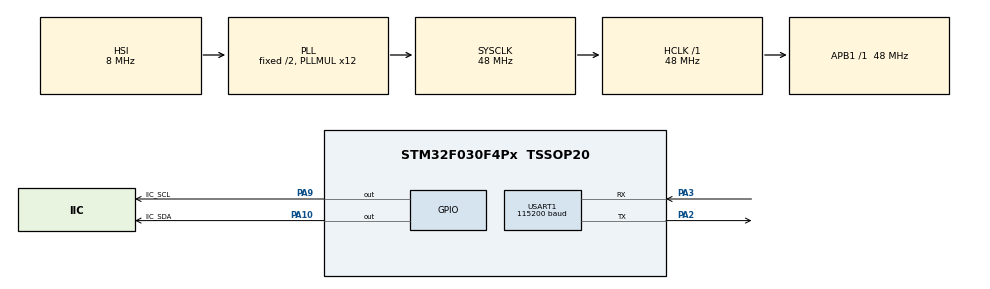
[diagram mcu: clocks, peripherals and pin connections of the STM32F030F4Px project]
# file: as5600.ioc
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Dma.Request0=USART1_RX
Dma.USART1_RX.0.Direction=DMA_PERIPH_TO_MEMORY
Dma.USART1_RX.0.Instance=DMA1_Channel3
Dma.USART1_RX.0.MemDataAlignment=DMA_MDATAALIGN_BYTE
Dma.USART1_RX.0.MemInc=DMA_MINC_ENABLE
Dma.USART1_RX.0.Mode=DMA_CIRCULAR
Dma.USART1_RX.0.PeriphDataAlignment=DMA_PDATAALIGN_BYTE
Dma.USART1_RX.0.PeriphInc=DMA_PINC_DISABLE
Dma.USART1_RX.0.Priority=DMA_PRIORITY_LOW
Mcu.Family=STM32F0
Mcu.Name=STM32F030F4Px
Mcu.Package=TSSOP20
NVIC.DMA1_Channel2_3_IRQn=true\:0\:0\:false\:false\:true\:false
NVIC.USART1_IRQn=true\:0\:0\:false\:false\:true\:true
PA10.GPIO_Label=IIC_SDA
PA10.Signal=GPIO_Output
PA13.Mode=Serial_Wire
PA13.Signal=SYS_SWDIO
PA14.Mode=Serial_Wire
PA14.Signal=SYS_SWCLK
PA2.Mode=Asynchronous
PA2.Signal=USART1_TX
PA3.Mode=Asynchronous
PA3.Signal=USART1_RX
PA9.GPIO_Label=IIC_SCL
PA9.Signal=GPIO_Output
PF0-OSC_IN.Mode=HSE-External-Oscillator
PF0-OSC_IN.Signal=RCC_OSC_IN
PF1-OSC_OUT.Mode=HSE-External-Oscillator
PF1-OSC_OUT.Signal=RCC_OSC_OUT
ProjectManager.HeapSize=0x200
ProjectManager.StackSize=0x400
ProjectManager.TargetToolchain=MDK-ARM V5
RCC.AHBFreq_Value=48000000
RCC.APB1Freq_Value=48000000
RCC.APB1TimFreq_Value=48000000
RCC.HCLKFreq_Value=48000000
RCC.PLLMUL=RCC_PLL_MUL12
RCC.SYSCLKFreq_VALUE=48000000
RCC.SYSCLKSource=RCC_SYSCLKSOURCE_PLLCLK
USART1.BaudRate=115200
USART1.VirtualMode-Asynchronous=VM_ASYNC
board=custom

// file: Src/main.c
/* USER CODE BEGIN Header */
/**
  ******************************************************************************
  * @file           : main.c
  * @brief          : Main program body
  ******************************************************************************
  ** This notice applies to any and all portions of this file
  * that are not between comment pairs USER CODE BEGIN and
  * USER CODE END. Other portions of this file, whether
  * inserted by the user or by software development tools
  * are owned by their respective copyright owners.
  *
  * COPYRIGHT(c) 2018 STMicroelectronics
  *
  * Redistribution and use in source and binary forms, with or without modification,
  * are permitted provided that the following conditions are met:
  *   1. Redistributions of source code must retain the above copyright notice,
  *      this list of conditions and the following disclaimer.
  *   2. Redistributions in binary form must reproduce the above copyright notice,
  *      this list of conditions and the following disclaimer in the documentation
  *      and/or other materials provided with the distribution.
  *   3. Neither the name of STMicroelectronics nor the names of its contributors
  *      may be used to endorse or promote products derived from this software
  *      without specific prior written permission.
  *
  * THIS SOFTWARE IS PROVIDED BY THE COPYRIGHT HOLDERS AND CONTRIBUTORS "AS IS"
  * AND ANY EXPRESS OR IMPLIED WARRANTIES, INCLUDING, BUT NOT LIMITED TO, THE
  * IMPLIED WARRANTIES OF MERCHANTABILITY AND FITNESS FOR A PARTICULAR PURPOSE ARE
  * DISCLAIMED. IN NO EVENT SHALL THE COPYRIGHT HOLDER OR CONTRIBUTORS BE LIABLE
  * FOR ANY DIRECT, INDIRECT, INCIDENTAL, SPECIAL, EXEMPLARY, OR CONSEQUENTIAL
  * DAMAGES (INCLUDING, BUT NOT LIMITED TO, PROCUREMENT OF SUBSTITUTE GOODS OR
  * SERVICES; LOSS OF USE, DATA, OR PROFITS; OR BUSINESS INTERRUPTION) HOWEVER
  * CAUSED AND ON ANY THEORY OF LIABILITY, WHETHER IN CONTRACT, STRICT LIABILITY,
  * OR TORT (INCLUDING NEGLIGENCE OR OTHERWISE) ARISING IN ANY WAY OUT OF THE USE
  * OF THIS SOFTWARE, EVEN IF ADVISED OF THE POSSIBILITY OF SUCH DAMAGE.
  *
  ******************************************************************************
  */
/* USER CODE END Header */

#include "main.h"

/* USER CODE BEGIN Includes */
#include "as5600.h"
/* USER CODE END Includes */

UART_HandleTypeDef huart1;
DMA_HandleTypeDef hdma_usart1_rx;

void SystemClock_Config(void);
static void MX_GPIO_Init(void);
static void MX_DMA_Init(void);
static void MX_USART1_UART_Init(void);
/* USER CODE BEGIN PFP */
void Uart_RxOvertimeEnable(void);
uint8_t aRxBuffer[2]={0};

uint8_t noMagnetStr[] = "Error: magnet not detected";
/* USER CODE END PFP */

/* USER CODE BEGIN 0 */
#ifdef __GNUC__
  /* With GCC/RAISONANCE, small printf (option LD Linker->Libraries->Small printf
     set to 'Yes') calls __io_putchar() */
  #define PUTCHAR_PROTOTYPE int __io_putchar(int ch)
#else
  #define PUTCHAR_PROTOTYPE int fputc(int ch, FILE *f)
#endif /* __GNUC__ */
/* USER CODE END 0 */

int main(void)
{

  /* MCU Configuration--------------------------------------------------------*/

  /* Reset of all peripherals, Initializes the Flash interface and the Systick. */
  HAL_Init();

  /* Configure the system clock */
  SystemClock_Config();

  /* Initialize all configured peripherals */
  MX_GPIO_Init();
  MX_DMA_Init();
  MX_USART1_UART_Init();
  /* USER CODE BEGIN 2 */
  Uart_RxOvertimeEnable();
	/*采用中断接收数据，模拟接收*/
  HAL_UART_Receive_IT(&huart1, (uint8_t *)aRxBuffer, 2);
  /* USER CODE END 2 */

  /* Infinite loop */
  while (1)
  {

    /* USER CODE BEGIN 3 */
//   while(READ_BIT(huart1.Instance->ISR,USART_ISR_RTOF))
//	 {
//		char incomingByteBuffer[2];
//    char incomingByte;
//
//    incomingByteBuffer[0] = aRxBuffer[0];
//    incomingByteBuffer[1] = aRxBuffer[1];
//
//		/*清除rtof标志*/
//		 SET_BIT(huart1.Instance->ICR,USART_ICR_RTOCF);
//
//		if ((incomingByteBuffer[0] >= 48) && (incomingByteBuffer[0] < 60))
//    {
//      incomingByte = incomingByteBuffer[0] - 48;
//    }
//
//    if ((incomingByteBuffer[1] >= 48) && (incomingByteBuffer[1] < 60))
//    {
//      incomingByte *=10;
//      incomingByte += incomingByteBuffer[1] - 48;
//    }
//		printf("incomingByte is %d\r\n",incomingByte);
//	  // PrintMenu();
//
//		 HAL_UART_Abort_IT(&huart1);
//		 aRxBuffer[0]=0;
//		 aRxBuffer[1]=0;
//		 HAL_UART_Receive_IT(&huart1, (uint8_t *)aRxBuffer, 2);
//		// HAL_Delay(1000);
//
//
   Programe_Run();
	 HAL_Delay(500);

   }
    //printf("incomingByte is %d\r\n",incomingByte);
  /* USER CODE END 3 */
}

void SystemClock_Config(void)
{
  RCC_OscInitTypeDef RCC_OscInitStruct = {0};
  RCC_ClkInitTypeDef RCC_ClkInitStruct = {0};
  RCC_PeriphCLKInitTypeDef PeriphClkInit = {0};

  /**Initializes the CPU, AHB and APB busses clocks
  */
  RCC_OscInitStruct.OscillatorType = RCC_OSCILLATORTYPE_HSI;
  RCC_OscInitStruct.HSIState = RCC_HSI_ON;
  RCC_OscInitStruct.HSICalibrationValue = RCC_HSICALIBRATION_DEFAULT;
  RCC_OscInitStruct.PLL.PLLState = RCC_PLL_ON;
  RCC_OscInitStruct.PLL.PLLSource = RCC_PLLSOURCE_HSI;
  RCC_OscInitStruct.PLL.PLLMUL = RCC_PLL_MUL12;
  RCC_OscInitStruct.PLL.PREDIV = RCC_PREDIV_DIV1;
  if (HAL_RCC_OscConfig(&RCC_OscInitStruct) != HAL_OK)
  {
    Error_Handler();
  }
  /**Initializes the CPU, AHB and APB busses clocks
  */
  RCC_ClkInitStruct.ClockType = RCC_CLOCKTYPE_HCLK|RCC_CLOCKTYPE_SYSCLK
                              |RCC_CLOCKTYPE_PCLK1;
  RCC_ClkInitStruct.SYSCLKSource = RCC_SYSCLKSOURCE_PLLCLK;
  RCC_ClkInitStruct.AHBCLKDivider = RCC_SYSCLK_DIV1;
  RCC_ClkInitStruct.APB1CLKDivider = RCC_HCLK_DIV1;

  if (HAL_RCC_ClockConfig(&RCC_ClkInitStruct, FLASH_LATENCY_1) != HAL_OK)
  {
    Error_Handler();
  }
  PeriphClkInit.PeriphClockSelection = RCC_PERIPHCLK_USART1;
  PeriphClkInit.Usart1ClockSelection = RCC_USART1CLKSOURCE_PCLK1;
  if (HAL_RCCEx_PeriphCLKConfig(&PeriphClkInit) != HAL_OK)
  {
    Error_Handler();
  }
}

static void MX_USART1_UART_Init(void)
{

  huart1.Instance = USART1;
  huart1.Init.BaudRate = 115200;
  huart1.Init.WordLength = UART_WORDLENGTH_8B;
  huart1.Init.StopBits = UART_STOPBITS_1;
  huart1.Init.Parity = UART_PARITY_NONE;
  huart1.Init.Mode = UART_MODE_TX_RX;
  huart1.Init.HwFlowCtl = UART_HWCONTROL_NONE;
  huart1.Init.OverSampling = UART_OVERSAMPLING_16;
  huart1.Init.OneBitSampling = UART_ONE_BIT_SAMPLE_DISABLE;
  huart1.AdvancedInit.AdvFeatureInit = UART_ADVFEATURE_NO_INIT;
  if (HAL_UART_Init(&huart1) != HAL_OK)
  {
    Error_Handler();
  }

}

static void MX_DMA_Init(void)
{
  /* DMA controller clock enable */
  __HAL_RCC_DMA1_CLK_ENABLE();

  /* DMA interrupt init */
  /* DMA1_Channel2_3_IRQn interrupt configuration */
  HAL_NVIC_SetPriority(DMA1_Channel2_3_IRQn, 0, 0);
  HAL_NVIC_EnableIRQ(DMA1_Channel2_3_IRQn);

}

static void MX_GPIO_Init(void)
{
  GPIO_InitTypeDef GPIO_InitStruct = {0};

  /* GPIO Ports Clock Enable */
  __HAL_RCC_GPIOF_CLK_ENABLE();
  __HAL_RCC_GPIOA_CLK_ENABLE();

  /*Configure GPIO pin Output Level */
  HAL_GPIO_WritePin(GPIOA, IIC_SCL_Pin|IIC_SDA_Pin, GPIO_PIN_RESET);

  /*Configure GPIO pins : IIC_SCL_Pin IIC_SDA_Pin */
  GPIO_InitStruct.Pin = IIC_SCL_Pin|IIC_SDA_Pin;
  GPIO_InitStruct.Mode = GPIO_MODE_OUTPUT_PP;
  GPIO_InitStruct.Pull = GPIO_NOPULL;
  GPIO_InitStruct.Speed = GPIO_SPEED_FREQ_LOW;
  HAL_GPIO_Init(GPIOA, &GPIO_InitStruct);

}

/* USER CODE BEGIN 4 */

PUTCHAR_PROTOTYPE
{
  /* Place your implementation of fputc here ??*/
  /* e.g. write a character to the EVAL_COM1 and Loop until the end of transmission */
  HAL_UART_Transmit(&huart1, (uint8_t *)&ch, 1, 0xFFFF);
  return ch;
}

void Uart_RxOvertimeEnable(void)
{
	/*使能接收超时功能*/
	SET_BIT(huart1.Instance->CR2,USART_CR2_RTOEN);
	/*使能超时接收中断*/
	//SET_BIT(huart1.Instance->CR1,USART_CR1_RTOIE);
	/*向RTOR寄存器填入需要超时的长度，单位为一个波特时长,3.5个字节*11波特长度 = 39  */
	WRITE_REG(huart1.Instance->RTOR,39);
}

/* USER CODE END 4 */

void Error_Handler(void)
{
}

/************************ (C) COPYRIGHT STMicroelectronics *****END OF FILE****/
